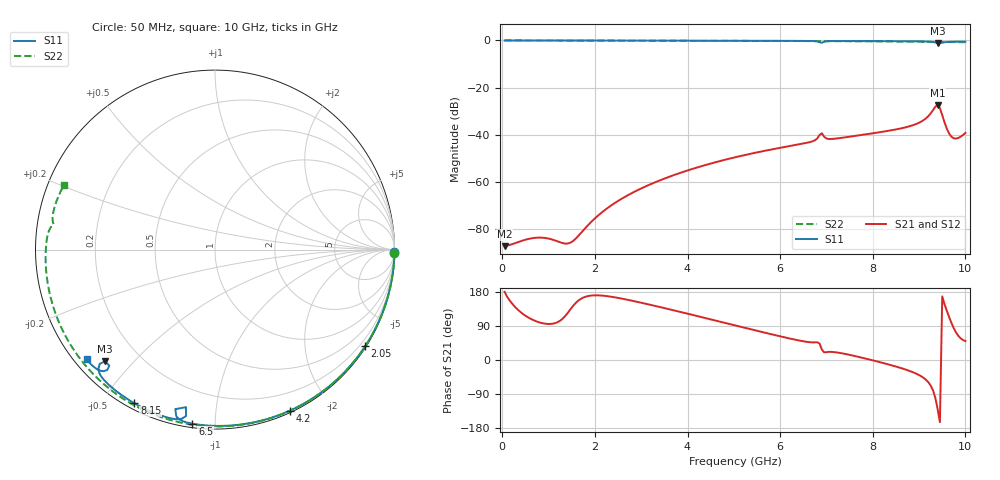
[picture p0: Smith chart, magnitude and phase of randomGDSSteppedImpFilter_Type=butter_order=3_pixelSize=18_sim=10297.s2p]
! freq	dB(S11)	phase(S11)	dB(S12)	phase(S12)
!  dB(S21)	phase(S21)	dB(S22)	phase(S22)
!S-par simulation data
#  GHz  S  DB  R 50
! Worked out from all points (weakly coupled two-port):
!   200 points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, 50 MHz to 10 GHz, reference 50 ohm
!   highest |S21| = -27.40 dB at 9.4 GHz (marker M1); lowest = -87.3 dB at 50 MHz (marker M2)
!   lowest |S11| = -1.2 dB at 9.4 GHz (marker M3), VSWR 14.75, Z = 3.98 - j20.9 ohm
!   |S11| at or under -10 dB: nowhere
!   |S22| runs from -0.8 to 0.0 dB; largest |S21 - S12| = 0
!   S11 on the Smith chart (normalised r, x): 50 MHz: open; 2.05 GHz: 0.03, -3.40; 4.2 GHz: 0.02, -1.56; 6.5 GHz: 0.02, -0.88; 8.15 GHz: 0.02, -0.60; 10 GHz: 0.03, -0.37
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0.05  -0.00 -0.8  -87.32 179.9  -87.32 179.9  -0.00 -1.1
1.75  -0.04 -28.1  -80.57 164.8  -80.57 164.8  -0.05 -38.1
2.05  -0.04 -32.8  -74.64 170.7  -74.64 170.7  -0.06 -44.4
2.65  -0.05 -42.1  -66.36 160.3  -66.36 160.3  -0.07 -56.9
3.4  -0.07 -53.4  -59.40 139.9  -59.40 139.9  -0.10 -72.0
4.2  -0.09 -65.2  -53.95 116.3  -53.95 116.3  -0.12 -87.7
5.05  -0.12 -77.3  -49.48 90.6  -49.48 90.6  -0.16 -103.8
6.5  -0.19 -97.4  -43.75 49.4  -43.75 49.4  -0.25 -130.7
6.7  -0.24 -100.7  -42.80 46.4  -42.80 46.4  -0.26 -134.4
6.85  -0.76 -104.0  -40.15 43.7  -40.15 43.7  -0.28 -137.1
6.9  -0.99 -100.4  -39.39 27.8  -39.39 27.8  -0.28 -138.1
7  -0.35 -101.2  -41.62 20.7  -41.62 20.7  -0.29 -139.9
7.1  -0.26 -103.3  -41.83 21.5  -41.83 21.5  -0.30 -141.8
8.15  -0.29 -117.7  -38.95 -5.5  -38.95 -5.5  -0.40 -161.8
8.35  -0.31 -120.3  -38.30 -12.1  -38.30 -12.1  -0.42 -165.8
9.05  -0.40 -129.8  -34.39 -43.3  -34.39 -43.3  -0.52 179.4
9.4  -1.18 -134.5  -27.40 -129.3  -27.40 -129.3  -0.80 171.4
9.45  -1.17 -132.4  -28.75 -164.0  -28.75 -164.0  -0.82 171.1
9.6  -0.64 -133.4  -37.50 129.4  -37.50 129.4  -0.69 167.9
9.7  -0.56 -135.1  -40.90 97.5  -40.90 97.5  -0.68 165.3
9.8  -0.53 -136.7  -41.64 72.2  -41.64 72.2  -0.70 162.7
10  -0.53 -139.5  -39.25 49.9  -39.25 49.9  -0.77 156.9
